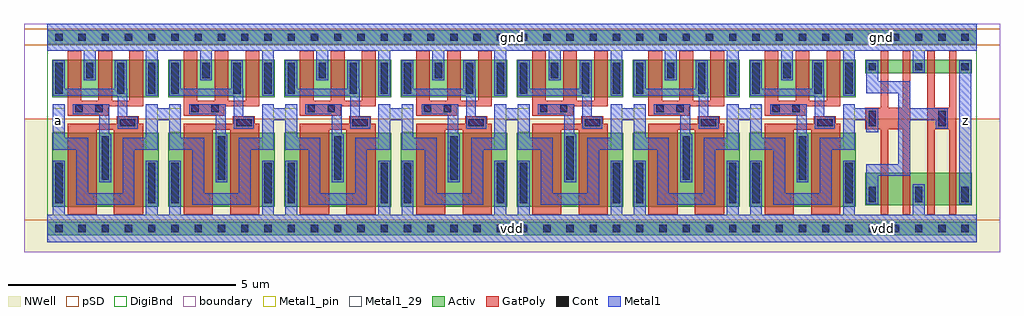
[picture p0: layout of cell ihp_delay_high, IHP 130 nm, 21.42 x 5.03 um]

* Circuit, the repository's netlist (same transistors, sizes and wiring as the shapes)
* ------------------------------------------------------
*
*		Copyright 2025 IHP PDK Authors
*
*		Licensed under the Apache License, Version 2.0 (the "License");
*		you may not use this file except in compliance with the License.
*		You may obtain a copy of the License at
*
*		   https://www.apache.org/licenses/LICENSE-2.0
*
*		Unless required by applicable law or agreed to in writing, software
*		distributed under the License is distributed on an "AS IS" BASIS,
*		WITHOUT WARRANTIES OR CONDITIONS OF ANY KIND, either express or implied.
*		See the License for the specific language governing permissions and
*		limitations under the License.
*
*		Generated on Thu Jul 30 11:38:32 2026
*
* ------------------------------------------------------
* Flattened from RM_IHPSG13_64x16_c2_1P_DLY_pcell_2; unchanged W/L/m.
.subckt ihp_delay_high a z vdd gnd
Xinternal_XIDL_MN1 internal_XIDL_net010 internal_XIDL_net032 gnd gnd sg13_lv_nmos w=300.0n l=160.00n m=1
Xinternal_XIDL_MN2 internal_XIDL_net032 a internal_XIDL_net014 gnd sg13_lv_nmos w=300.0n l=160.00n m=1
Xinternal_XIDL_MN0 z internal_XIDL_net032 internal_XIDL_net010 gnd sg13_lv_nmos w=300.0n l=160.00n m=1
Xinternal_XIDL_MN3 internal_XIDL_net014 a gnd gnd sg13_lv_nmos w=300.0n l=160.00n m=1
Xinternal_XIDL_MP1 z internal_XIDL_net032 internal_XIDL_net07 vdd sg13_lv_pmos w=720.00n l=160.00n m=1
Xinternal_XIDL_MP3 internal_XIDL_net011 a vdd vdd sg13_lv_pmos w=720.00n l=160.00n m=1
Xinternal_XIDL_MP0 internal_XIDL_net07 internal_XIDL_net032 vdd vdd sg13_lv_pmos w=720.00n l=160.00n m=1
Xinternal_XIDL_MP2 internal_XIDL_net032 a internal_XIDL_net011 vdd sg13_lv_pmos w=720.00n l=160.00n m=1
Xinternal_XIDM<7>_MN0 internal_XIDM<7>_vss_r internal_XIDM<7>_vdd_r gnd gnd sg13_lv_nmos w=2.49u l=300.0n m=1
Xinternal_XIDM<7>_MP0 internal_XIDM<7>_vdd_r internal_XIDM<7>_vss_r vdd vdd sg13_lv_pmos w=3.24u l=640.00n m=1
Xinternal_XIDM<6>_MN0 internal_XIDM<6>_vss_r internal_XIDM<6>_vdd_r gnd gnd sg13_lv_nmos w=2.49u l=300.0n m=1
Xinternal_XIDM<6>_MP0 internal_XIDM<6>_vdd_r internal_XIDM<6>_vss_r vdd vdd sg13_lv_pmos w=3.24u l=640.00n m=1
Xinternal_XIDM<5>_MN0 internal_XIDM<5>_vss_r internal_XIDM<5>_vdd_r gnd gnd sg13_lv_nmos w=2.49u l=300.0n m=1
Xinternal_XIDM<5>_MP0 internal_XIDM<5>_vdd_r internal_XIDM<5>_vss_r vdd vdd sg13_lv_pmos w=3.24u l=640.00n m=1
Xinternal_XIDM<4>_MN0 internal_XIDM<4>_vss_r internal_XIDM<4>_vdd_r gnd gnd sg13_lv_nmos w=2.49u l=300.0n m=1
Xinternal_XIDM<4>_MP0 internal_XIDM<4>_vdd_r internal_XIDM<4>_vss_r vdd vdd sg13_lv_pmos w=3.24u l=640.00n m=1
Xinternal_XIDM<3>_MN0 internal_XIDM<3>_vss_r internal_XIDM<3>_vdd_r gnd gnd sg13_lv_nmos w=2.49u l=300.0n m=1
Xinternal_XIDM<3>_MP0 internal_XIDM<3>_vdd_r internal_XIDM<3>_vss_r vdd vdd sg13_lv_pmos w=3.24u l=640.00n m=1
Xinternal_XIDM<2>_MN0 internal_XIDM<2>_vss_r internal_XIDM<2>_vdd_r gnd gnd sg13_lv_nmos w=2.49u l=300.0n m=1
Xinternal_XIDM<2>_MP0 internal_XIDM<2>_vdd_r internal_XIDM<2>_vss_r vdd vdd sg13_lv_pmos w=3.24u l=640.00n m=1
Xinternal_XIDM<1>_MN0 internal_XIDM<1>_vss_r internal_XIDM<1>_vdd_r gnd gnd sg13_lv_nmos w=2.49u l=300.0n m=1
Xinternal_XIDM<1>_MP0 internal_XIDM<1>_vdd_r internal_XIDM<1>_vss_r vdd vdd sg13_lv_pmos w=3.24u l=640.00n m=1
.ends ihp_delay_high

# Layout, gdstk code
import gdstk
lib = gdstk.Library(unit=1e-6, precision=1e-09)
def R(c, l, rs):  # rectangles x0, y0, x1, y1
    for r in rs: c.add(gdstk.rectangle(r[:2], r[2:], *l))
def A(c, l, x, y, w, h, nx, ny, dx, dy):  # array of equal rectangles
    R(c, l, [(x+i*dx, y+j*dy, x+i*dx+w, y+j*dy+h) for i in range(nx) for j in range(ny)])
def P(c, l, *ps):  # polygons
    for p in ps: c.add(gdstk.Polygon(p, *l))
Activ = (1, 0)
GatPoly = (5, 0)
Cont = (6, 0)
Metal1 = (8, 0)
Metal1_pin = (8, 2)
Metal1_29 = (8, 29)
pSD = (14, 0)
DigiBnd = (16, 0)
NWell = (31, 0)
boundary = (189, 4)

ihp_delay_high = lib.new_cell('ihp_delay_high')
A(ihp_delay_high, Activ, 0.615, 1.005, 2.34, 1.62, 7, 1, 2.55, 0)
A(ihp_delay_high, Activ, 0.615, 3.405, 2.34, 0.83, 7, 1, 2.55, 0)
R(ihp_delay_high, Activ, [(0.51,0.375,20.91,0.675), (18.465,1.035,20.805,1.755), (18.465,3.935,20.805,4.235), (0.51,4.575,20.91,4.875)])
P(ihp_delay_high, GatPoly, [(0.955,0.825),(0.955,2.825),(2.035,2.825),(2.035,2.995),(2.515,2.995),(2.515,2.825),(2.615,2.825),(2.615,0.825),(1.975,0.825),(1.975,2.695),(1.595,2.695),(1.595,0.825)],
  [(3.505,0.825),(3.505,2.825),(4.585,2.825),(4.585,2.995),(5.065,2.995),(5.065,2.825),(5.165,2.825),(5.165,0.825),(4.525,0.825),(4.525,2.695),(4.145,2.695),(4.145,0.825)],
  [(6.055,0.825),(6.055,2.825),(7.135,2.825),(7.135,2.995),(7.615,2.995),(7.615,2.825),(7.715,2.825),(7.715,0.825),(7.075,0.825),(7.075,2.695),(6.695,2.695),(6.695,0.825)],
  [(8.605,0.825),(8.605,2.825),(9.685,2.825),(9.685,2.995),(10.165,2.995),(10.165,2.825),(10.265,2.825),(10.265,0.825),(9.625,0.825),(9.625,2.695),(9.245,2.695),(9.245,0.825)],
  [(11.155,0.825),(11.155,2.825),(12.235,2.825),(12.235,2.995),(12.715,2.995),(12.715,2.825),(12.815,2.825),(12.815,0.825),(12.175,0.825),(12.175,2.695),(11.795,2.695),(11.795,0.825)],
  [(13.705,0.825),(13.705,2.825),(14.785,2.825),(14.785,2.995),(15.265,2.995),(15.265,2.825),(15.365,2.825),(15.365,0.825),(14.725,0.825),(14.725,2.695),(14.345,2.695),(14.345,0.825)],
  [(16.255,0.825),(16.255,2.825),(17.335,2.825),(17.335,2.995),(17.815,2.995),(17.815,2.825),(17.915,2.825),(17.915,0.825),(17.275,0.825),(17.275,2.695),(16.895,2.695),(16.895,0.825)],
  [(0.955,3.005),(0.955,4.425),(1.255,4.425),(1.255,3.335),(1.635,3.335),(1.635,4.425),(1.935,4.425),(1.935,3.335),(2.315,3.335),(2.315,4.425),(2.615,4.425),(2.615,3.205),(1.85,3.205),(1.85,3.005)],
  [(3.505,3.005),(3.505,4.425),(3.805,4.425),(3.805,3.335),(4.185,3.335),(4.185,4.425),(4.485,4.425),(4.485,3.335),(4.865,3.335),(4.865,4.425),(5.165,4.425),(5.165,3.205),(4.4,3.205),(4.4,3.005)],
  [(6.055,3.005),(6.055,4.425),(6.355,4.425),(6.355,3.335),(6.735,3.335),(6.735,4.425),(7.035,4.425),(7.035,3.335),(7.415,3.335),(7.415,4.425),(7.715,4.425),(7.715,3.205),(6.95,3.205),(6.95,3.005)],
  [(8.605,3.005),(8.605,4.425),(8.905,4.425),(8.905,3.335),(9.285,3.335),(9.285,4.425),(9.585,4.425),(9.585,3.335),(9.965,3.335),(9.965,4.425),(10.265,4.425),(10.265,3.205),(9.5,3.205),(9.5,3.005)],
  [(11.155,3.005),(11.155,4.425),(11.455,4.425),(11.455,3.335),(11.835,3.335),(11.835,4.425),(12.135,4.425),(12.135,3.335),(12.515,3.335),(12.515,4.425),(12.815,4.425),(12.815,3.205),(12.05,3.205),(12.05,3.005)],
  [(13.705,3.005),(13.705,4.425),(14.005,4.425),(14.005,3.335),(14.385,3.335),(14.385,4.425),(14.685,4.425),(14.685,3.335),(15.065,3.335),(15.065,4.425),(15.365,4.425),(15.365,3.205),(14.6,3.205),(14.6,3.005)],
  [(16.255,3.005),(16.255,4.425),(16.555,4.425),(16.555,3.335),(16.935,3.335),(16.935,4.425),(17.235,4.425),(17.235,3.335),(17.615,3.335),(17.615,4.425),(17.915,4.425),(17.915,3.205),(17.15,3.205),(17.15,3.005)],
  [(18.805,0.825),(18.805,2.7),(18.465,2.7),(18.465,3.18),(18.805,3.18),(18.805,4.425),(18.965,4.425),(18.965,3.18),(19.285,3.18),(19.285,4.425),(19.445,4.425),(19.445,0.825),(19.285,0.825),(19.285,2.7),(18.965,2.7),(18.965,0.825)],
  [(19.825,0.825),(19.825,4.425),(19.985,4.425),(19.985,3.18),(20.305,3.18),(20.305,4.425),(20.465,4.425),(20.465,0.825),(20.305,0.825),(20.305,2.7),(19.985,2.7),(19.985,0.825)])
A(ihp_delay_high, Cont, 0.685, 0.445, 0.16, 0.16, 40, 2, 0.51, 4.2)
A(ihp_delay_high, Cont, 18.535, 1.105, 0.16, 0.34, 3, 1, 1.02, 0)
A(ihp_delay_high, Cont, 1.705, 1.595, 0.16, 0.955, 7, 1, 2.55, 0)
A(ihp_delay_high, Cont, 2.105, 2.765, 0.34, 0.16, 7, 1, 2.55, 0)
A(ihp_delay_high, Cont, 1.365, 3.825, 0.16, 0.34, 7, 1, 2.55, 0)
A(ihp_delay_high, Cont, 18.535, 3.995, 0.16, 0.16, 3, 1, 1.02, 0)
R(ihp_delay_high, Cont, [(0.685,1.075,0.845,1.965), (2.725,1.075,2.885,1.965), (3.235,1.075,3.395,1.965), (5.275,1.075,5.435,1.965), (5.785,1.075,5.945,1.965), (7.825,1.075,7.985,1.965), (8.335,1.075,8.495,1.965), (10.375,1.075,10.535,1.965), (10.885,1.075,11.045,1.965), (12.925,1.075,13.085,1.965), (13.435,1.075,13.595,1.965), (15.475,1.075,15.635,1.965), (15.985,1.075,16.145,1.965), (18.025,1.075,18.185,1.965), (18.535,2.77,18.695,3.11), (20.065,2.77,20.225,3.11), (1.125,3.075,1.285,3.235), (1.565,3.075,1.725,3.235), (3.675,3.075,3.835,3.235), (4.115,3.075,4.275,3.235), (6.225,3.075,6.385,3.235), (6.665,3.075,6.825,3.235), (8.775,3.075,8.935,3.235), (9.215,3.075,9.375,3.235), (11.325,3.075,11.485,3.235), (11.765,3.075,11.925,3.235), (13.875,3.075,14.035,3.235), (14.315,3.075,14.475,3.235), (16.425,3.075,16.585,3.235), (16.865,3.075,17.025,3.235), (0.685,3.485,0.845,4.165), (2.045,3.485,2.205,4.165), (2.725,3.485,2.885,4.165), (3.235,3.485,3.395,4.165), (4.595,3.485,4.755,4.165), (5.275,3.485,5.435,4.165), (5.785,3.485,5.945,4.165), (7.145,3.485,7.305,4.165), (7.825,3.485,7.985,4.165), (8.335,3.485,8.495,4.165), (9.695,3.485,9.855,4.165), (10.375,3.485,10.535,4.165), (10.885,3.485,11.045,4.165), (12.245,3.485,12.405,4.165), (12.925,3.485,13.085,4.165), (13.435,3.485,13.595,4.165), (14.795,3.485,14.955,4.165), (15.475,3.485,15.635,4.165), (15.985,3.485,16.145,4.165), (17.345,3.485,17.505,4.165), (18.025,3.485,18.185,4.165)])
A(ihp_delay_high, Metal1, 1.145, 1.045, 1.28, 0.26, 7, 1, 2.55, 0)
A(ihp_delay_high, Metal1, 1.655, 1.545, 0.26, 1.055, 7, 1, 2.55, 0)
A(ihp_delay_high, Metal1, 1.655, 2.6, 0.22, 0.435, 7, 1, 2.55, 0)
A(ihp_delay_high, Metal1, 2.055, 2.715, 0.44, 0.26, 7, 1, 2.55, 0)
A(ihp_delay_high, Metal1, 2.675, 2.905, 0.77, 0.26, 7, 1, 2.55, 0)
A(ihp_delay_high, Metal1, 2.055, 2.975, 0.21, 0.46, 7, 1, 2.55, 0)
A(ihp_delay_high, Metal1, 1.075, 3.035, 0.8, 0.22, 7, 1, 2.55, 0)
A(ihp_delay_high, Metal1, 0.635, 3.435, 1.63, 0.16, 7, 1, 2.55, 0)
A(ihp_delay_high, Metal1, 2.675, 3.435, 0.26, 0.99, 7, 1, 2.55, 0)
A(ihp_delay_high, Metal1, 1.315, 3.775, 0.26, 0.65, 7, 1, 2.55, 0)
R(ihp_delay_high, Metal1, [(0.51,0.225,20.91,0.825), (0.635,0.825,0.895,2.015), (2.675,0.825,2.935,2.015), (3.185,0.825,3.445,2.015), (5.225,0.825,5.485,2.015), (5.735,0.825,5.995,2.015), (7.775,0.825,8.035,2.015), (8.285,0.825,8.545,2.015), (10.325,0.825,10.585,2.015), (10.835,0.825,11.095,2.015), (12.875,0.825,13.135,2.015), (13.385,0.825,13.645,2.015), (15.425,0.825,15.685,2.015), (15.935,0.825,16.195,2.015), (17.975,0.825,18.235,2.015), (19.505,0.825,19.765,1.495), (18.485,1.055,18.745,1.685), (20.525,1.055,20.785,4.215), (1.145,1.305,1.405,2.26), (2.165,1.305,2.425,2.26), (3.695,1.305,3.955,2.26), (4.715,1.305,4.975,2.26), (6.245,1.305,6.505,2.26), (7.265,1.305,7.525,2.26), (8.795,1.305,9.055,2.26), (9.815,1.305,10.075,2.26), (11.345,1.305,11.605,2.26), (12.365,1.305,12.625,2.26), (13.895,1.305,14.155,2.26), (14.915,1.305,15.175,2.26), (16.445,1.305,16.705,2.26), (17.465,1.305,17.725,2.26), (18.485,1.685,19.445,1.935), (19.185,1.935,19.445,2.905), (0.635,2.26,1.405,2.52), (2.165,2.26,2.935,2.52), (3.185,2.26,3.955,2.52), (4.715,2.26,5.485,2.52), (5.735,2.26,6.505,2.52), (7.265,2.26,8.035,2.52), (8.285,2.26,9.055,2.52), (9.815,2.26,10.585,2.52), (10.835,2.26,11.605,2.52), (12.365,2.26,13.135,2.52), (13.385,2.26,14.155,2.52), (14.915,2.26,15.685,2.52), (15.935,2.26,16.705,2.52), (17.465,2.26,18.235,2.52), (0.635,2.52,0.895,3.255), (2.675,2.52,2.935,2.905), (3.185,2.52,3.445,2.905), (5.225,2.52,5.485,2.905), (5.735,2.52,5.995,2.905), (7.775,2.52,8.035,2.905), (8.285,2.52,8.545,2.905), (10.325,2.52,10.585,2.905), (10.835,2.52,11.095,2.905), (12.875,2.52,13.135,2.905), (13.385,2.52,13.645,2.905), (15.425,2.52,15.685,2.905), (15.935,2.52,16.195,2.905), (17.975,2.52,18.235,2.905), (18.485,2.635,18.745,2.905), (20.015,2.72,20.275,2.905), (19.185,2.905,20.275,3.165), (2.675,3.165,2.935,3.255), (3.185,3.165,3.445,3.255), (5.225,3.165,5.485,3.255), (5.735,3.165,5.995,3.255), (7.775,3.165,8.035,3.255), (8.285,3.165,8.545,3.255), (10.325,3.165,10.585,3.255), (10.835,3.165,11.095,3.255), (12.875,3.165,13.135,3.255), (13.385,3.165,13.645,3.255), (15.425,3.165,15.685,3.255), (15.935,3.165,16.195,3.255), (17.975,3.165,18.235,3.255), (19.185,3.165,19.445,3.495), (18.485,3.495,19.445,3.755), (0.635,3.595,0.895,4.215), (1.995,3.595,2.255,4.215), (3.185,3.595,3.445,4.215), (4.545,3.595,4.805,4.215), (5.735,3.595,5.995,4.215), (7.095,3.595,7.355,4.215), (8.285,3.595,8.545,4.215), (9.645,3.595,9.905,4.215), (10.835,3.595,11.095,4.215), (12.195,3.595,12.455,4.215), (13.385,3.595,13.645,4.215), (14.745,3.595,15.005,4.215), (15.935,3.595,16.195,4.215), (17.295,3.595,17.555,4.215), (18.485,3.755,18.745,4.215), (19.505,3.945,19.765,4.425), (0.51,4.425,20.91,5.025)])
A(ihp_delay_high, Metal1_pin, 2.675, 2.26, 0.26, 0.995, 7, 1, 2.55, 0)
A(ihp_delay_high, Metal1_pin, 0.635, 2.635, 0.26, 0.53, 8, 1, 2.55, 0)
R(ihp_delay_high, Metal1_pin, [(0.51,0.225,20.91,0.825), (1.315,1.045,1.515,1.305), (2.115,1.045,2.315,1.305), (3.865,1.045,4.065,1.305), (4.665,1.045,4.865,1.305), (6.415,1.045,6.615,1.305), (7.215,1.045,7.415,1.305), (8.965,1.045,9.165,1.305), (9.765,1.045,9.965,1.305), (11.515,1.045,11.715,1.305), (12.315,1.045,12.515,1.305), (14.065,1.045,14.265,1.305), (14.865,1.045,15.065,1.305), (16.615,1.045,16.815,1.305), (17.415,1.045,17.615,1.305), (20.525,1.055,20.785,4.215), (0.51,4.425,20.91,5.025)])
A(ihp_delay_high, Metal1_29, 1.515, 1.045, 0.6, 0.26, 7, 1, 2.55, 0)
R(ihp_delay_high, pSD, [(0,0.705,21.42,2.94), (0,4.545,21.42,4.905)])
R(ihp_delay_high, DigiBnd, [(0.51,0.225,20.91,5.025)])
R(ihp_delay_high, NWell, [(0,0,21.42,2.94)])
R(ihp_delay_high, boundary, [(0,0,21.42,5.025)])
ihp_delay_high.add(gdstk.Label('vdd', (10.71,0.525), layer=8, texttype=25))
ihp_delay_high.add(gdstk.Label('gnd', (10.71,4.725), layer=8, texttype=25))
ihp_delay_high.add(gdstk.Label('a', (0.765,2.9), layer=8, texttype=25))
ihp_delay_high.add(gdstk.Label('z', (20.655,2.9), layer=8, texttype=25))
ihp_delay_high.add(gdstk.Label('vdd', (18.87,0.525), layer=8, texttype=25))
ihp_delay_high.add(gdstk.Label('gnd', (18.825,4.725), layer=8, texttype=25))

lib.write_gds('ihp_delay_high.gds')
